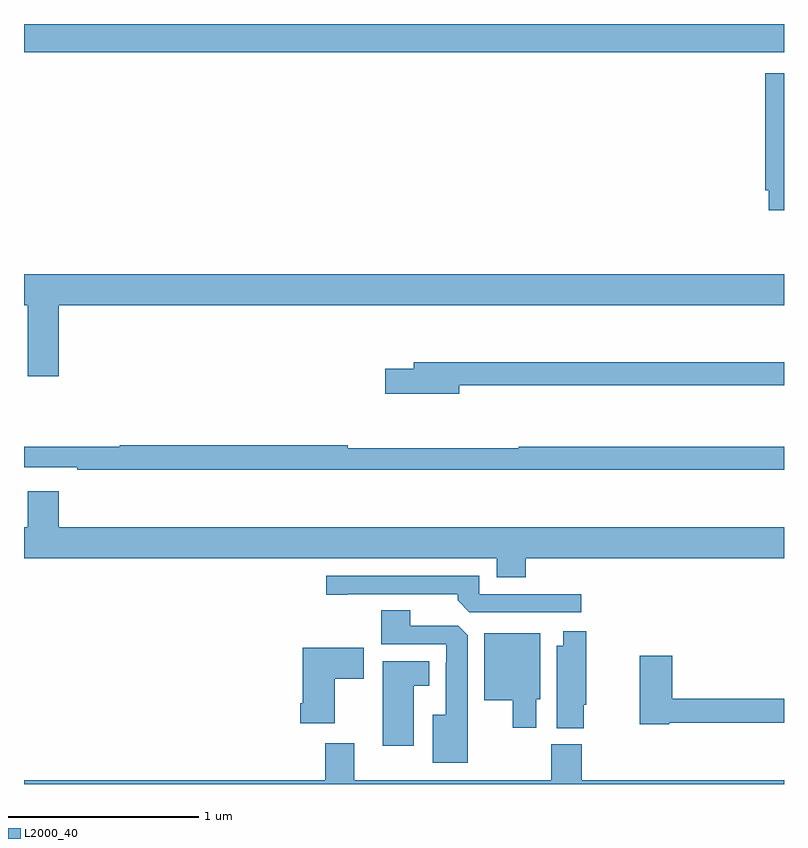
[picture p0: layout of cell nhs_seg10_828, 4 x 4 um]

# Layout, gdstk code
import gdstk
lib = gdstk.Library(unit=1e-6, precision=1e-09)
def R(c, l, rs):  # rectangles x0, y0, x1, y1
    for r in rs: c.add(gdstk.rectangle(r[:2], r[2:], *l))
def P(c, l, *ps):  # polygons
    for p in ps: c.add(gdstk.Polygon(p, *l))
L2000_40 = (2000, 40)

nhs_seg10_828 = lib.new_cell('nhs_seg10_828')
R(nhs_seg10_828, L2000_40, [(153,1264.352,157,1264.5)])
P(nhs_seg10_828, L2000_40, [(157,1264.242),(156.901,1264.242),(156.901,1263.625),(156.92,1263.625),(156.92,1263.521),(157,1263.521)],
  [(153,1263.02),(153.02,1263.02),(153.02,1262.646),(153.184,1262.646),(153.184,1263.02),(157,1263.02),(157,1263.184),(153,1263.184)],
  [(155.29,1262.598),(157,1262.598),(157,1262.719),(155.051,1262.719),(155.051,1262.685),(154.902,1262.685),(154.902,1262.555),(155.29,1262.555)],
  [(157,1262.275),(155.603,1262.275),(155.603,1262.267),(154.703,1262.267),(154.703,1262.282),(153.503,1262.282),(153.503,1262.275),(153,1262.275),(153,1262.166),(153.28,1262.166),(153.28,1262.154),(157,1262.154)],
  [(155.642,1261.688),(157,1261.688),(157,1261.852),(153.184,1261.852),(153.184,1262.041),(153.02,1262.041),(153.02,1261.852),(153,1261.852),(153,1261.688),(155.489,1261.688),(155.489,1261.589),(155.642,1261.589)],
  [(155.932,1261.5),(155.397,1261.5),(155.397,1261.596),(154.59,1261.596),(154.59,1261.495),(154.702,1261.495),(154.702,1261.5),(155.282,1261.5),(155.282,1261.466),(155.343,1261.404),(155.932,1261.404)],
  [(155.335,1261.283),(155.286,1261.332),(155.032,1261.332),(155.032,1261.415),(154.88,1261.415),(154.88,1261.236),(155.223,1261.236),(155.223,1261.139),(155.219,1261.139),(155.219,1260.865),(155.15,1260.865),(155.15,1260.611),(155.335,1260.611)],
  [(155.946,1260.918),(155.959,1260.918),(155.959,1261.303),(155.837,1261.303),(155.837,1261.228),(155.804,1261.228),(155.804,1260.793),(155.946,1260.793)],
  [(155.695,1260.945),(155.716,1260.945),(155.716,1261.294),(155.423,1261.294),(155.423,1260.941),(155.573,1260.941),(155.573,1260.795),(155.695,1260.795)],
  [(154.636,1261.054),(154.789,1261.054),(154.789,1261.216),(154.466,1261.216),(154.466,1260.925),(154.454,1260.925),(154.454,1260.821),(154.636,1260.821)],
  [(156.396,1260.822),(157,1260.822),(157,1260.95),(156.413,1260.95),(156.413,1261.174),(156.242,1261.174),(156.242,1260.814),(156.396,1260.814)],
  [(155.05,1261.016),(155.134,1261.016),(155.134,1261.147),(154.889,1261.147),(154.889,1260.702),(155.05,1260.702)],
  [(157,1260.52),(155.936,1260.52),(155.936,1260.708),(155.776,1260.708),(155.776,1260.52),(154.738,1260.52),(154.738,1260.715),(154.586,1260.715),(154.586,1260.52),(153,1260.52),(153,1260.5),(157,1260.5)])

lib.write_gds('nhs_seg10_828.gds')
